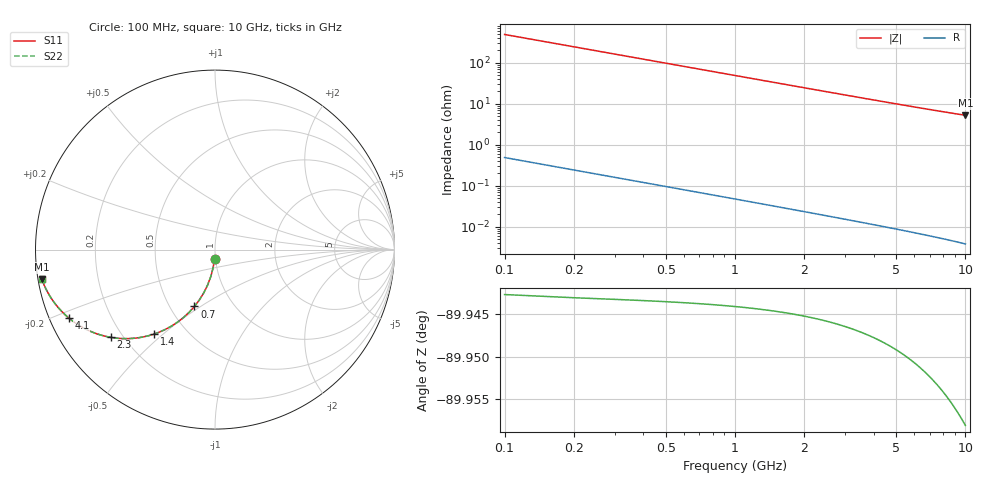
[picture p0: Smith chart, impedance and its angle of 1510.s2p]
# Hz S RI R 50.00
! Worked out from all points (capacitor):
!   100 points, 100 MHz to 10 GHz, reference 50 ohm
!   read as one part in shunt: C = 3.27 pF near 100 MHz
!   lowest |Z| = 5.23 ohm at 10 GHz (marker M1)
!   S11 on the Smith chart (normalised r, x): 100 MHz: 0.99, -0.10; 700 MHz: 0.66, -0.47; 1.4 GHz: 0.33, -0.47; 2.3 GHz: 0.15, -0.36; 4.1 GHz: 0.06, -0.22; 10 GHz: 0.01, -0.09
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1e8  -0.00263 -0.051  0.9973 -0.0513  0.9973 -0.0513  -0.00263 -0.051
2e8  -0.0105 -0.1012  0.9894 -0.1018  0.9894 -0.1018  -0.0105 -0.1012
3e8  -0.0232 -0.1498  0.9767 -0.1508  0.9767 -0.1508  -0.0232 -0.1498
4e8  -0.0405 -0.1961  0.9594 -0.1975  0.9594 -0.1975  -0.0405 -0.1961
5e8  -0.0619 -0.2396  0.938 -0.2414  0.938 -0.2414  -0.0619 -0.2396
6e8  -0.0867 -0.2799  0.9132 -0.282  0.9132 -0.282  -0.0867 -0.2799
7e8  -0.1144 -0.3166  0.8855 -0.319  0.8855 -0.319  -0.1144 -0.3166
8e8  -0.1443 -0.3496  0.8556 -0.3523  0.8556 -0.3523  -0.1443 -0.3496
1e9  -0.2084 -0.404  0.7915 -0.4074  0.7915 -0.4074  -0.2084 -0.404
1.2e9  -0.2748 -0.4439  0.7251 -0.448  0.7251 -0.448  -0.2748 -0.4439
1.4e9  -0.3402 -0.4709  0.6597 -0.4757  0.6597 -0.4757  -0.3402 -0.4709
1.6e9  -0.4024 -0.4871  0.5975 -0.4926  0.5975 -0.4926  -0.4024 -0.4871
1.8e9  -0.4601 -0.4948  0.5398 -0.501  0.5398 -0.501  -0.4601 -0.4948
2.3e9  -0.5817 -0.4888  0.4181 -0.4967  0.4181 -0.4967  -0.5817 -0.4888
2.8e9  -0.6733 -0.4636  0.3265 -0.4733  0.3265 -0.4733  -0.6733 -0.4636
3.4e9  -0.7525 -0.4251  0.2474 -0.4369  0.2474 -0.4369  -0.7525 -0.4251
4.1e9  -0.8156 -0.38  0.1842 -0.3943  0.1842 -0.3943  -0.8156 -0.38
5.1e9  -0.8728 -0.3236  0.127 -0.3415  0.127 -0.3415  -0.8728 -0.3236
5.8e9  -0.8989 -0.2905  0.1008 -0.311  0.1008 -0.311  -0.8989 -0.2905
6.7e9  -0.9225 -0.2547  0.0771 -0.2784  0.0771 -0.2784  -0.9225 -0.2547
8.4e9  -0.9496 -0.2025  0.0498 -0.2327  0.0498 -0.2327  -0.9496 -0.2025
1e10  -0.9642 -0.1659  0.035 -0.2024  0.035 -0.2024  -0.9642 -0.1659
